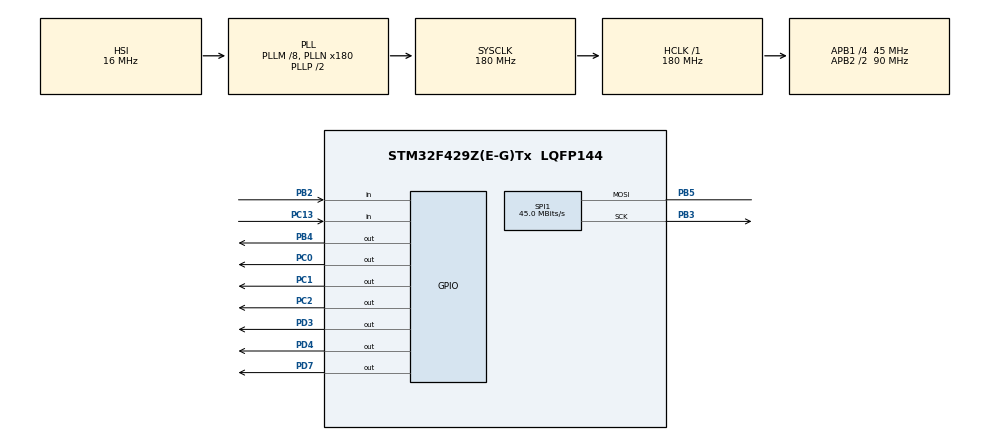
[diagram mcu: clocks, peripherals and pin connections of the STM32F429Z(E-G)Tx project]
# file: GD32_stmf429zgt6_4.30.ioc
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Dma.Request0=SPI1_TX
Dma.SPI1_TX.0.Direction=DMA_MEMORY_TO_PERIPH
Dma.SPI1_TX.0.FIFOMode=DMA_FIFOMODE_DISABLE
Dma.SPI1_TX.0.Instance=DMA2_Stream3
Dma.SPI1_TX.0.MemDataAlignment=DMA_MDATAALIGN_BYTE
Dma.SPI1_TX.0.MemInc=DMA_MINC_ENABLE
Dma.SPI1_TX.0.Mode=DMA_NORMAL
Dma.SPI1_TX.0.PeriphDataAlignment=DMA_PDATAALIGN_BYTE
Dma.SPI1_TX.0.PeriphInc=DMA_PINC_DISABLE
Dma.SPI1_TX.0.Priority=DMA_PRIORITY_LOW
Mcu.Family=STM32F4
Mcu.Name=STM32F429Z(E-G)Tx
Mcu.Package=LQFP144
NVIC.DMA2_Stream3_IRQn=true\:0\:0\:false\:false\:true\:false\:true\:true
NVIC.PriorityGroup=NVIC_PRIORITYGROUP_4
PB2/BOOT1.GPIO_PuPd=GPIO_PULLDOWN
PB2/BOOT1.Signal=GPIO_Input
PB3.Mode=Simplex_Bidirectional_Master
PB3.Signal=SPI1_SCK
PB4.Signal=GPIO_Output
PB5.Mode=Simplex_Bidirectional_Master
PB5.Signal=SPI1_MOSI
PC0.Signal=GPIO_Output
PC1.Signal=GPIO_Output
PC13.GPIO_PuPd=GPIO_PULLUP
PC13.Signal=GPIO_Input
PC2.Signal=GPIO_Output
PD3.Signal=GPIO_Output
PD4.Signal=GPIO_Output
PD7.Signal=GPIO_Output
PH0/OSC_IN.Mode=HSE-External-Oscillator
PH0/OSC_IN.Signal=RCC_OSC_IN
PH1/OSC_OUT.Mode=HSE-External-Oscillator
PH1/OSC_OUT.Signal=RCC_OSC_OUT
ProjectManager.HeapSize=0x200
ProjectManager.StackSize=0x400
ProjectManager.TargetToolchain=MDK-ARM V5.32
RCC.48MHZClocksFreq_Value=90000000
RCC.AHBFreq_Value=180000000
RCC.APB1CLKDivider=RCC_HCLK_DIV4
RCC.APB1Freq_Value=45000000
RCC.APB1TimFreq_Value=90000000
RCC.APB2CLKDivider=RCC_HCLK_DIV2
RCC.APB2Freq_Value=90000000
RCC.APB2TimFreq_Value=180000000
RCC.CortexFreq_Value=180000000
RCC.HCLKFreq_Value=180000000
RCC.HSE_VALUE=8000000
RCC.HSI_VALUE=16000000
RCC.LSE_VALUE=32768
RCC.PLLM=8
RCC.PLLN=180
RCC.SYSCLKFreq_VALUE=180000000
RCC.SYSCLKSource=RCC_SYSCLKSOURCE_PLLCLK
RCC.VCOOutputFreq_Value=360000000
SPI1.BaudRatePrescaler=SPI_BAUDRATEPRESCALER_2
SPI1.CLKPolarity=SPI_POLARITY_HIGH
SPI1.CalculateBaudRate=45.0 MBits/s
SPI1.Direction=SPI_DIRECTION_1LINE
SPI1.Mode=SPI_MODE_MASTER
SPI1.VirtualType=VM_MASTER
board=custom

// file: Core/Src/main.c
/* USER CODE BEGIN Header */
/**
  ******************************************************************************
  * @file           : main.c
  * @brief          : Main program body
  ******************************************************************************
  * @attention
  *
  * Copyright (c) 2025 STMicroelectronics.
  * All rights reserved.
  *
  * This software is licensed under terms that can be found in the LICENSE file
  * in the root directory of this software component.
  * If no LICENSE file comes with this software, it is provided AS-IS.
  *
  ******************************************************************************
  */
/* USER CODE END Header */
#include "main.h"
#include "dma.h"
#include "spi.h"
#include "gpio.h"

/* USER CODE BEGIN Includes */
#include "st7789.h"
#include "fonts.h"

#include "ebtn.h"
/* USER CODE END Includes */

/* USER CODE BEGIN PTD */
uint32_t fps;
uint8_t text[10];
/* USER CODE END PTD */

/* USER CODE BEGIN PD */
const ebtn_btn_param_t key_param_normal = EBTN_PARAMS_INIT(
20,
20,
50,
500,
300,
500,
5
);

typedef enum
{
    USER_BUTTON_0 = 0,
    USER_BUTTON_1,
    USER_BUTTON_MAX,

    USER_BUTTON_COMBO_0 = 0x100,
    USER_BUTTON_COMBO_1,
    USER_BUTTON_COMBO_MAX,
} user_button_t;

static ebtn_btn_t btns[] = {
  EBTN_BUTTON_INIT(USER_BUTTON_0, &key_param_normal),
  EBTN_BUTTON_INIT(USER_BUTTON_1, &key_param_normal),
};

static ebtn_btn_combo_t btns_combo[] = {
  EBTN_BUTTON_COMBO_INIT(USER_BUTTON_COMBO_0, &key_param_normal),
  EBTN_BUTTON_COMBO_INIT(USER_BUTTON_COMBO_1, &key_param_normal),
};

void prv_btn_event(struct ebtn_btn *btn, ebtn_evt_t evt)
{
  if(evt == EBTN_EVT_ONCLICK)
   {
    uint16_t click_cnt = ebtn_click_get_count(btn);

    switch (btn->key_id)
    {
    case USER_BUTTON_0:
    if(click_cnt==1)
    {
      HAL_GPIO_TogglePin(GPIOC,GPIO_PIN_0);
    }
    else if(click_cnt==2)
    {
      HAL_GPIO_TogglePin(GPIOC,GPIO_PIN_1);
    }
      break;
      case USER_BUTTON_1:
      if(click_cnt==1)
      {
        HAL_GPIO_TogglePin(GPIOC,GPIO_PIN_2);
      }
      else if(click_cnt==2)
      {
        HAL_GPIO_TogglePin(GPIOC,GPIO_PIN_2);
      }
        break;
    default:
      break;
    }
   }

}

uint8_t prv_btn_get_state(struct ebtn_btn *btn)
{
  switch (btn->key_id)
  {
  case USER_BUTTON_0:
    return !HAL_GPIO_ReadPin(GPIOC,GPIO_PIN_13);
  case USER_BUTTON_1:
    return !HAL_GPIO_ReadPin(GPIOB,GPIO_PIN_2);
  default:
    return 0;
  }
}
/* USER CODE END PD */

void SystemClock_Config(void);

int main(void)
{

  /* MCU Configuration--------------------------------------------------------*/

  /* Reset of all peripherals, Initializes the Flash interface and the Systick. */
  HAL_Init();

  /* Configure the system clock */
  SystemClock_Config();

  /* Initialize all configured peripherals */
  MX_GPIO_Init();
  MX_DMA_Init();
  MX_SPI1_Init();
  /* USER CODE BEGIN 2 */
  ST7789_Init();
  ebtn_init(btns, EBTN_ARRAY_SIZE(btns), btns_combo, EBTN_ARRAY_SIZE(btns_combo),
              prv_btn_get_state, prv_btn_event);
  /* USER CODE END 2 */

  /* Infinite loop */
  while (1)
  {

    /* USER CODE BEGIN 3 */
//		HAL_GPIO_WritePin(GPIOC,GPIO_PIN_0,GPIO_PIN_SET);
//		HAL_GPIO_WritePin(GPIOC,GPIO_PIN_1,GPIO_PIN_SET);
//		HAL_GPIO_WritePin(GPIOC,GPIO_PIN_2,GPIO_PIN_SET);
		//HAL_Delay(500);
//		HAL_GPIO_WritePin(GPIOC,GPIO_PIN_0,GPIO_PIN_RESET);
//		HAL_GPIO_WritePin(GPIOC,GPIO_PIN_1,GPIO_PIN_RESET);
//		HAL_GPIO_WritePin(GPIOC,GPIO_PIN_2,GPIO_PIN_RESET);
		//HAL_Delay(500);
		//ST7789_Test();
    HAL_Delay(50);
    fps=HAL_GetTick();
    ST7789_Fill_Color(BLACK);
    fps=1000/(HAL_GetTick()-fps);
    sprintf(text,"FPS: %d",fps);
	  ST7789_WriteString(10, 20, text, Font_16x26, RED, BLACK);
    ebtn_process(HAL_GetTick());
  }
  /* USER CODE END 3 */
}

void SystemClock_Config(void)
{
  RCC_OscInitTypeDef RCC_OscInitStruct = {0};
  RCC_ClkInitTypeDef RCC_ClkInitStruct = {0};

  /** Configure the main internal regulator output voltage
  */
  __HAL_RCC_PWR_CLK_ENABLE();
  __HAL_PWR_VOLTAGESCALING_CONFIG(PWR_REGULATOR_VOLTAGE_SCALE1);

  /** Initializes the RCC Oscillators according to the specified parameters
  * in the RCC_OscInitTypeDef structure.
  */
  RCC_OscInitStruct.OscillatorType = RCC_OSCILLATORTYPE_HSI;
  RCC_OscInitStruct.HSIState = RCC_HSI_ON;
  RCC_OscInitStruct.HSICalibrationValue = RCC_HSICALIBRATION_DEFAULT;
  RCC_OscInitStruct.PLL.PLLState = RCC_PLL_ON;
  RCC_OscInitStruct.PLL.PLLSource = RCC_PLLSOURCE_HSI;
  RCC_OscInitStruct.PLL.PLLM = 8;
  RCC_OscInitStruct.PLL.PLLN = 180;
  RCC_OscInitStruct.PLL.PLLP = RCC_PLLP_DIV2;
  RCC_OscInitStruct.PLL.PLLQ = 4;
  if (HAL_RCC_OscConfig(&RCC_OscInitStruct) != HAL_OK)
  {
    Error_Handler();
  }

  /** Activate the Over-Drive mode
  */
  if (HAL_PWREx_EnableOverDrive() != HAL_OK)
  {
    Error_Handler();
  }

  /** Initializes the CPU, AHB and APB buses clocks
  */
  RCC_ClkInitStruct.ClockType = RCC_CLOCKTYPE_HCLK|RCC_CLOCKTYPE_SYSCLK
                              |RCC_CLOCKTYPE_PCLK1|RCC_CLOCKTYPE_PCLK2;
  RCC_ClkInitStruct.SYSCLKSource = RCC_SYSCLKSOURCE_PLLCLK;
  RCC_ClkInitStruct.AHBCLKDivider = RCC_SYSCLK_DIV1;
  RCC_ClkInitStruct.APB1CLKDivider = RCC_HCLK_DIV4;
  RCC_ClkInitStruct.APB2CLKDivider = RCC_HCLK_DIV2;

  if (HAL_RCC_ClockConfig(&RCC_ClkInitStruct, FLASH_LATENCY_5) != HAL_OK)
  {
    Error_Handler();
  }
}

void Error_Handler(void)
{
  __disable_irq();
  while (1)
  {
  }
}
